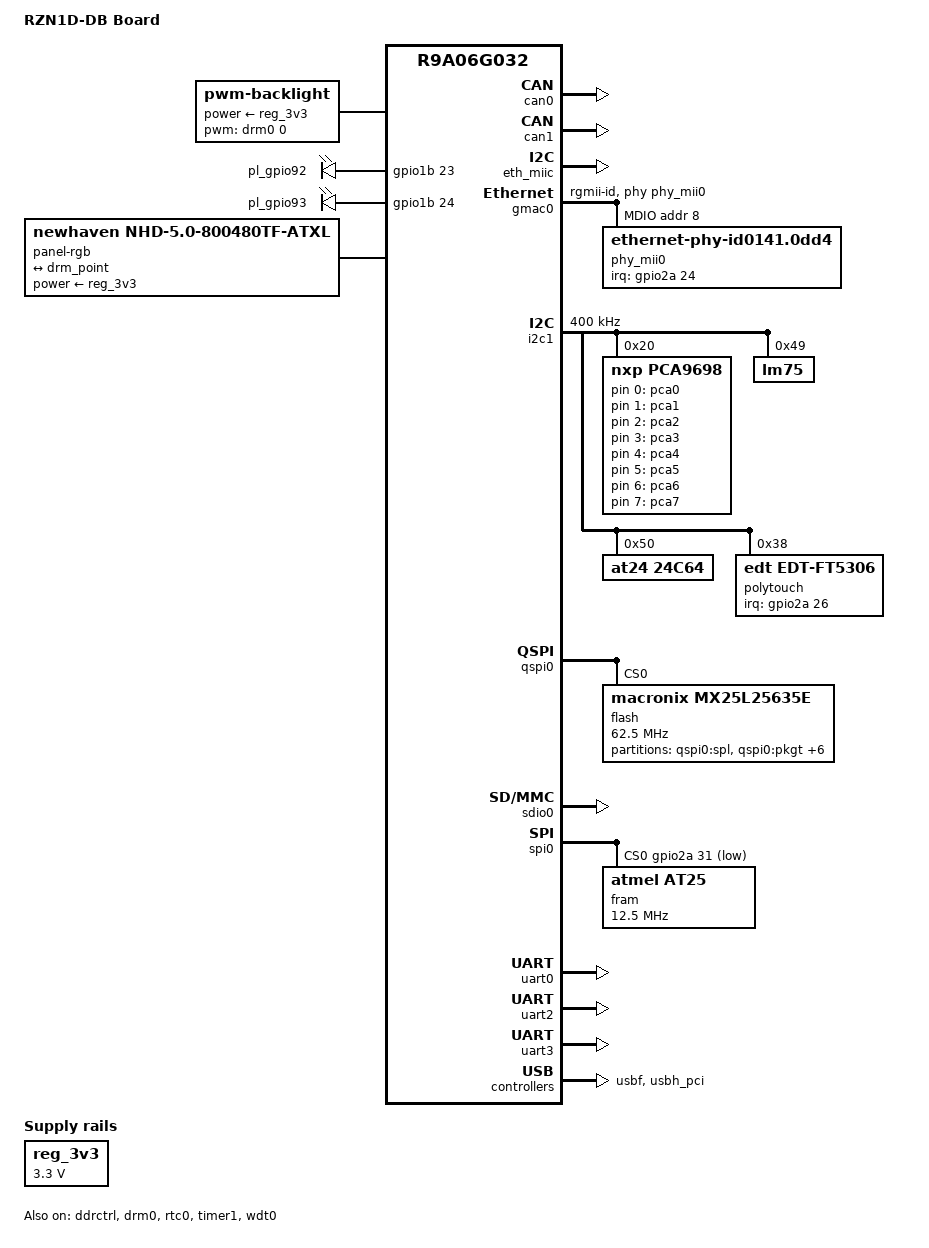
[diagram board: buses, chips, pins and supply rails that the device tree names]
// SPDX-License-Identifier: GPL-2.0
/*
 * Device Tree Source for the RZN1D-DB Board
 *
 * Copyright (C) 2018 Renesas Electronics Europe Limited
 *
 */

/dts-v1/;

#include "r9a06g032.dtsi"
#include "r9a06g032-db-pinmux.dtsi"

/ {
	model = "RZN1D-DB Board";
	compatible = "renesas,rzn1d400-db", "renesas,r9a06g032";

	chosen {
		stdout-path = "serial0:115200n8";
	};

	aliases {
		serial0 = &uart0;
		spi0 = &qspi0;
	};

	backlight: backlight {
		compatible = "pwm-backlight";
		status = "okay";
		brightness-levels = <0 50 100 150 200 255>;
		default-brightness-level = <5>;
		pwms = <&drm0 0 34000000>;
		power-supply = <&reg_3v3>;
	};

	leds: leds {
		compatible = "gpio-leds";

		led_1 {
			label = "pl_gpio92";
			gpios = <&gpio1b 23 GPIO_ACTIVE_HIGH>;
			linux,default-trigger = "cpu0";
		};
		led_2 {
			label = "pl_gpio93";
			gpios = <&gpio1b 24 GPIO_ACTIVE_HIGH>;
			linux,default-trigger = "cpu1";
		};
		pca0 {
			label = "pca0";
			gpios = <&pca9698 0 GPIO_ACTIVE_HIGH>;
		};
		pca1 {
			label = "pca1";
			gpios = <&pca9698 1 GPIO_ACTIVE_HIGH>;
		};
		pca2 {
			label = "pca2";
			gpios = <&pca9698 2 GPIO_ACTIVE_HIGH>;
		};
		pca3 {
			label = "pca3";
			gpios = <&pca9698 3 GPIO_ACTIVE_HIGH>;
		};
		pca4 {
			label = "pca4";
			gpios = <&pca9698 4 GPIO_ACTIVE_HIGH>;
		};
		pca5 {
			label = "pca5";
			gpios = <&pca9698 5 GPIO_ACTIVE_HIGH>;
		};
		pca6 {
			label = "pca6";
			gpios = <&pca9698 6 GPIO_ACTIVE_HIGH>;
		};
		pca7 {
			label = "pca7";
			gpios = <&pca9698 7 GPIO_ACTIVE_HIGH>;
		};
	};

	panel-rgb {
		compatible = "newhaven,nhd-5.0-800480tf-atxl";
		status = "okay";
		no-hpd;
		power-supply = <&reg_3v3>;

		port {
			display_in: endpoint {
				remote-endpoint = <&drm_point>;
			};
		};
	};

	reg_3v3: regulator-reg-3v3 {
		compatible = "regulator-fixed";
		regulator-name = "3V3";
		regulator-min-microvolt = <3300000>;
		regulator-max-microvolt = <3300000>;
	};
};

&can0 {
	pinctrl-0 = <&pins_can0>;
	pinctrl-names = "default";
	/* Ext Board */
	status = "okay";
};

&can1 {
	pinctrl-0 = <&pins_can1>;
	pinctrl-names = "default";
	/* Ext Board */
	status = "okay";
};

&ddrctrl {
	status = "okay";
};

&drm0 {
	status = "okay";
	pinctrl-names = "default";
	backlight-pwm-clock = <300>;
	pinctrl-0 = <&pins_lcd>;
	bus-width = <24>;
	bits-per-pixel = <16>;

	port {
		drm_point: endpoint {
			remote-endpoint = <&display_in>;
		};
	};
};

&eth_miic {
	status = "okay";
	pinctrl-names = "default";
	pinctrl-0 = <&pins_refclk_rgmii>;

	/*
	 * This dts is for use Cortex M3 code, e.g. GOAL, that sets the RIN Mode
	 * Control, so do not set it here.
	 */

	mii0: eth-mii0 {
		phy-handle = <&phy_mii0>;
	};
};

&gmac0 {
	/* Only accessible from the Ext Board */
	status = "okay";
	pinctrl-names = "default";
	pinctrl-0 = <&pins_mdio0>, <&pins_eth0>;

	/*
	 * Do not use GPIO 94 to reset the PHY. This signal is used to reset all
	 * PHYs on the board, but the other PHYs are controlled by firmware on the
	 * Cortex M3 and we do not want to disturb them. We rely on U-Boot to toggle
	 * this reset pin.
	 */

	phy-handle = <&phy_mii0>;
	phy-mode = "rgmii-id";

	mdio0 {
		#address-cells = <1>;
		#size-cells = <0>;
		compatible = "snps,dwmac-mdio";

		phy_mii0: ethernet-phy@8 {
			/* Ext Board: Marvell 88E1512 PHY on J22 */
			compatible = "ethernet-phy-id0141.0dd4",
				     "ethernet-phy-ieee802.3-c22";
			device_type = "ethernet-phy";
			reg = <8>;
			/* Set LED0 as active low link status, LED2 as interrupt */
			marvell,reg-init = <3 16 0 0x1010 3 18 0 0x4980>;
			interrupt-parent = <&gpio2a>;
			interrupts = <24 IRQ_TYPE_LEVEL_LOW>;
		};
	};
};

&gpio1 {
	pinctrl-0 = <&pins_gpio1>;
	pinctrl-names = "default";
	status = "okay";
};

&gpio2 {
	pinctrl-0 = <&pins_gpio2>;
	pinctrl-names = "default";
	status = "okay";
};

/* Calculated gpio irq numbers: gpioXa Y = 32*X + Y */
#define GPIOA_IRQ(gpioa_block, nr)	(32 * (gpioa_block) + (nr))

&gpioirqmux {
	status = "okay";
	interrupt-map = <GPIOA_IRQ(2, 24) &gic GIC_SPI 103 IRQ_TYPE_LEVEL_HIGH>, /* pin 146: ETH Port 1 IRQ */
			<GPIOA_IRQ(2,  4) &gic GIC_SPI 104 IRQ_TYPE_LEVEL_HIGH>, /* pin 126: ETH Port 2 IRQ */
			<GPIOA_IRQ(1, 28) &gic GIC_SPI 105 IRQ_TYPE_LEVEL_HIGH>, /* pin 118: ETH Port 3 IRQ */
			<GPIOA_IRQ(2, 25) &gic GIC_SPI 106 IRQ_TYPE_LEVEL_HIGH>, /* pin 147: ETH Port 4 IRQ */
			<GPIOA_IRQ(2, 27) &gic GIC_SPI 107 IRQ_TYPE_LEVEL_HIGH>, /* pin 149: ETH Port 5 IRQ */
			<GPIOA_IRQ(2, 26) &gic GIC_SPI 108 IRQ_TYPE_LEVEL_HIGH>; /* pin 148: TouchSCRN_IRQ */
};

&i2c1 {
	pinctrl-0 = <&pins_i2c1>;
	pinctrl-names = "default";
	status = "okay";
	clock-frequency = <400000>;

	pca9698: gpio@20 {
		compatible = "nxp,pca9698";
		reg = <0x20>;
		gpio-controller;
		#gpio-cells = <2>;
		gpio-bank-name="pca";

		/* gpio-hogs to enable access to the EEPROM */
		eeprom_ctrl0 {
			gpio-hog;
			gpios = <16 0>;
			output-high;
			line-name = "eeprom-ctrl0-gpio";
		};
		eeprom_ctrl1 {
			gpio-hog;
			gpios = <17 0>;
			output-low;
			line-name = "eeprom-ctrl1-gpio";
		};
		eeprom_ctrl2 {
			gpio-hog;
			gpios = <18 0>;
			output-low;
			line-name = "eeprom-ctrl2-gpio";
		};
	};

	lm75: lm75@49 {
		/* Ext Board: Temperature sensor */
		compatible = "lm75";
		reg = <0x49>;
	};

	at24@50 {
		compatible = "at24,24c64";
		pagesize = <32>;
		reg = <0x50>;
	};

	polytouch: edt-ft5x06@38 {
		/* Ext Board: touch sensor on LCD */
		compatible = "edt,edt-ft5306", "edt,edt-ft5x06";
		reg = <0x38>;
		interrupt-parent = <&gpio2a>;
		interrupts = <26 IRQ_TYPE_EDGE_FALLING>;
		touchscreen-size-x = <800>;
		touchscreen-size-y = <480>;
	};
};

&qspi0 {
	pinctrl-0 = <&pins_qspi0>;
	pinctrl-names = "default";
	status = "okay";

	flash: mx25l25635@0 {
		#address-cells = <1>;
		#size-cells = <1>;
		compatible = "macronix,mx25l25635e", "jedec,spi-nor";
		reg = <0>;
		spi-max-frequency = <62500000>;
		spi-cpha;
		spi-cpol;
		spi-rx-bus-width = <4>;
		renesas,rzn1-read-cmd = <0xeb 6 1>;
		renesas,rzn1-readcap-delay = <1>;
		/* The properties below are used by U-Boot */
		tshsl-ns = <30>;
		tsd2d-ns = <3>;
		tchsh-ns = <3>;
		tslch-ns = <3>;
		memory-map = <0x10000000 0x10000000>;
		memory-map-write = <1>;

		partition@0 {
			/* 64KB */
			label = "qspi0:spl";
			reg = <0x0000000 0x00010000>;
		};
		partition@1 {
			/* 64KB */
			label = "qspi0:pkgt";
			reg = <0x0010000 0x00010000>;
		};
		partition@2 {
			/* 512KB */
			label = "qspi0:u-boot";
			reg = <0x0020000 0x00080000>;
		};
		partition@3 {
			/* 64KB */
			label = "qspi0:env";
			reg = <0x00a0000 0x00010000>;
		};
		partition@4 {
			/* 128KB */
			label = "qspi0:dtb";
			reg = <0x00b0000 0x00020000>;
		};
		partition@5 {
			/* 1MB */
			label = "qspi0:cm3";
			reg = <0x00d0000 0x00100000>;
		};
		partition@6 {
			/* 6MB */
			label = "qspi0:kernel";
			reg = <0x01d0000 0x00600000>;
		};
		partition@7 {
			/* Remaining */
			label = "qspi0:data";
			reg = <0x07d0000 0>;
		};
	};
};

&rtc0 {
	status = "okay";
};

&sdio0 {
	pinctrl-0 = <&pins_sdio0>;
	pinctrl-names = "default";
	/* Ext Board */
	status = "okay";
};

&spi0 {
	pinctrl-0 = <&pins_spi0>;
	pinctrl-names = "default";
	status = "okay";

	dmas =  <&dmamux 8 0 0 0 8 1>, <&dmamux 9 0 0 0 9 1>;
	dma-names = "rx", "tx";

	cs-gpios = <&gpio2a 31 GPIO_ACTIVE_LOW>;

	/* Ext Board: Serial (SPI) F-RAM device (FM25V10-G) */
	fram: fm25@0 {
		compatible = "atmel,at25";
		reg = <0>;
		/* Max freq supported by RZ/N1 */
		spi-max-frequency = <12500000>;
		size = <131072>;
		address-width = <24>;
		pagesize = <4096>;
	};
};

/* Note, timer0 may be used by the Cortex M3 software */
&timer1 {
	status = "okay";
	/* Enable the /25 prescaler only on the 16-bit timers */
	renesas,clk-prescaler = <1 1 1 1 1 1 0 0>;
	renesas,timer-rating = <150 150 150 150 150 150 460 460>;
};

&uart0 {
	status = "okay";
};

&uart2 {
	pinctrl-0 = <&pins_uart2>;
	pinctrl-names = "default";
	status = "okay";
};

&uart3 {
	pinctrl-0 = <&pins_uart3>;
	pinctrl-names = "default";
	status = "okay";
};

&usbf {
	status = "okay";
};

&usbh_pci {
	status = "okay";
};

&wdt0 {
	status = "okay";
};
